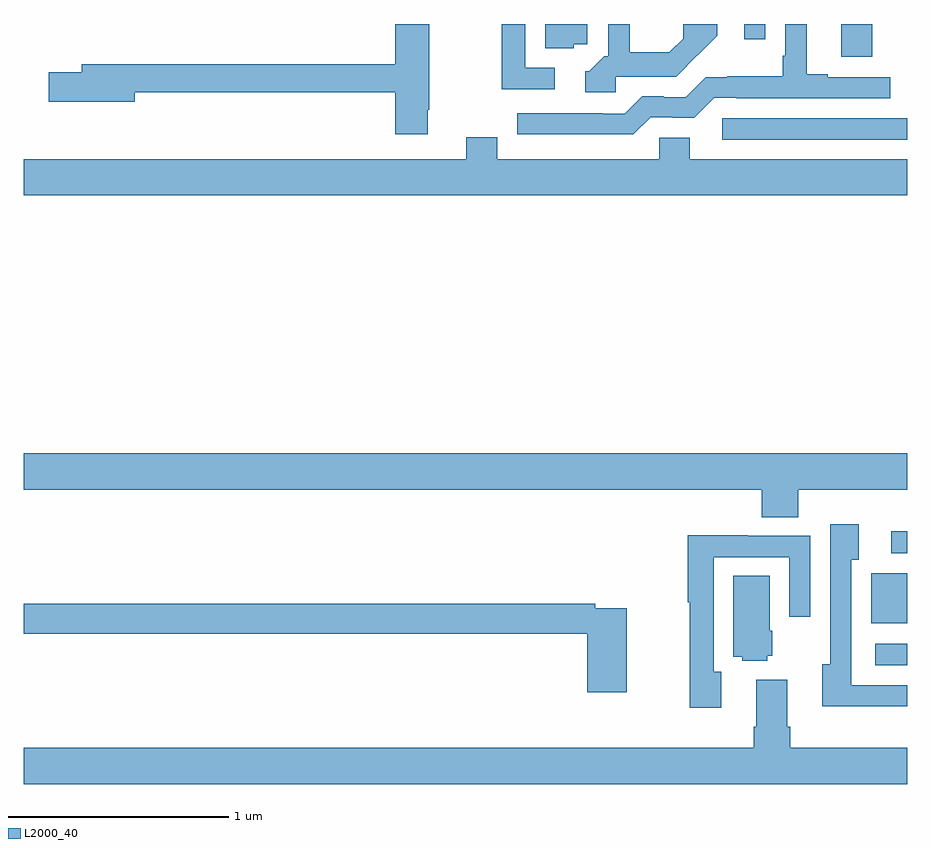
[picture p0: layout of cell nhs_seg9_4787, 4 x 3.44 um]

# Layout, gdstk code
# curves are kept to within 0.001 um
import gdstk
lib = gdstk.Library(unit=1e-6, precision=1e-09)
def R(c, l, rs):  # rectangles x0, y0, x1, y1
    for r in rs: c.add(gdstk.rectangle(r[:2], r[2:], *l))
def P(c, l, *ps):  # polygons
    for p in ps: c.add(gdstk.Polygon(p, *l))
L2000_40 = (2000, 40)

nhs_seg9_4787 = lib.new_cell('nhs_seg9_4787')
R(nhs_seg9_4787, L2000_40, [(390.855,1223.598,391,1223.694), (390.836,1223.787,391,1224.015), (390.927,1224.105,391,1224.203), (390.162,1225.977,391,1226.073), (390.701,1226.352,390.841,1226.5), (390.261,1226.43,390.357,1226.5)])
P(nhs_seg9_4787, L2000_40, [(388.828,1226.113),(388.836,1226.113),(388.836,1226.5),(388.682,1226.5),(388.682,1226.318),(387.263,1226.318),(387.263,1226.282),(387.114,1226.282),(387.114,1226.147),(387.502,1226.147),(387.502,1226.19),(388.682,1226.19),(388.682,1226.001),(388.828,1226.001)],
  [(389.838,1226.079),(389.939,1226.079),(389.939,1226.076),(390.036,1226.076),(390.126,1226.166),(390.226,1226.166),(390.226,1226.163),(390.922,1226.163),(390.922,1226.259),(390.64,1226.259),(390.64,1226.272),(390.544,1226.272),(390.544,1226.5),(390.447,1226.5),(390.447,1226.356),(390.435,1226.356),(390.435,1226.263),(390.184,1226.263),(390.184,1226.259),(390.087,1226.259),(389.997,1226.169),(389.897,1226.169),(389.897,1226.172),(389.799,1226.172),(389.721,1226.094),(389.621,1226.094),(389.621,1226.097),(389.235,1226.097),(389.235,1226.001),(389.759,1226)],
  [(389.404,1226.301),(389.271,1226.301),(389.271,1226.5),(389.163,1226.5),(389.163,1226.205),(389.404,1226.205)],
  [(389.679,1226.262),(389.953,1226.262),(390.139,1226.446),(390.139,1226.5),(389.985,1226.5),(389.985,1226.434),(389.923,1226.373),(389.744,1226.373),(389.744,1226.5),(389.646,1226.5),(389.646,1226.355),(389.628,1226.355),(389.559,1226.286),(389.543,1226.286),(389.543,1226.19),(389.679,1226.19)],
  [(389.49,1226.409),(389.55,1226.409),(389.55,1226.5),(389.361,1226.5),(389.361,1226.39),(389.49,1226.39)],
  [(391,1225.888),(390.016,1225.888),(390.016,1225.986),(389.877,1225.986),(389.877,1225.888),(389.143,1225.888),(389.143,1225.987),(389.003,1225.987),(389.003,1225.888),(387,1225.888),(387,1225.724),(391,1225.724)],
  [(390.506,1224.392),(391,1224.392),(391,1224.556),(387,1224.556),(387,1224.392),(390.341,1224.392),(390.341,1224.268),(390.506,1224.268)],
  [(391,1223.508),(390.747,1223.508),(390.747,1224.074),(390.781,1224.074),(390.781,1224.235),(390.651,1224.235),(390.651,1223.602),(390.614,1223.602),(390.614,1223.411),(391,1223.411)],
  [(390.157,1223.567),(390.123,1223.567),(390.123,1224.087),(390.465,1224.087),(390.465,1223.817),(390.561,1223.817),(390.561,1224.183),(390.277,1224.183),(390.277,1224.187),(390.007,1224.187),(390.007,1223.883),(390.015,1223.883),(390.015,1223.406),(390.157,1223.406)],
  [(390.366,1223.64),(390.388,1223.64),(390.388,1223.754),(390.376,1223.754),(390.376,1224.002),(390.212,1224.002),(390.212,1223.636),(390.252,1223.636),(390.252,1223.618),(390.366,1223.618)],
  [(389.73,1223.856),(389.588,1223.856),(389.588,1223.876),(387,1223.876),(387,1223.74),(389.552,1223.74),(389.552,1223.475),(389.73,1223.475)],
  [(391,1223.224),(390.47,1223.224),(390.47,1223.32),(390.457,1223.32),(390.457,1223.533),(390.317,1223.533),(390.317,1223.32),(390.305,1223.32),(390.305,1223.224),(387,1223.224),(387,1223.06),(391,1223.06)])

lib.write_gds('nhs_seg9_4787.gds')
